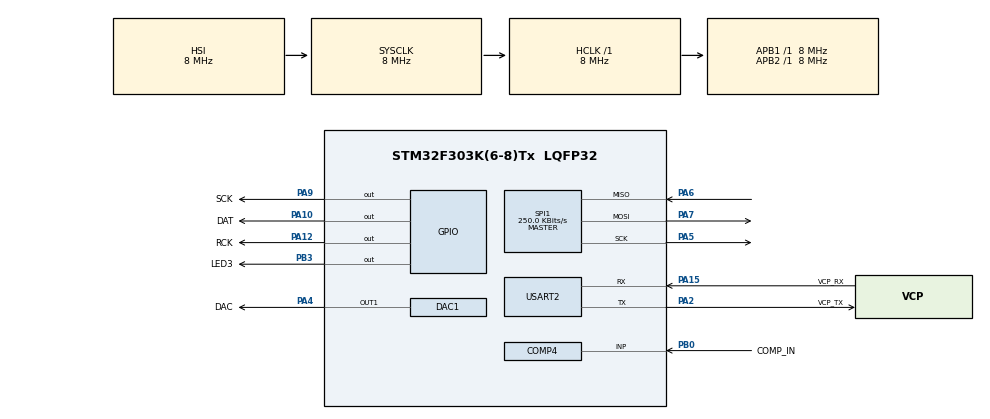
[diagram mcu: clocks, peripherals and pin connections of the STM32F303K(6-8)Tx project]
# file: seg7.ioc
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Mcu.Family=STM32F3
Mcu.Name=STM32F303K(6-8)Tx
Mcu.Package=LQFP32
NVIC.PriorityGroup=NVIC_PRIORITYGROUP_4
NVIC.TIM1_BRK_TIM15_IRQn=true\:0\:0\:false\:false\:true
PA10.GPIO_Label=DAT
PA10.Signal=GPIO_Output
PA12.GPIO_Label=RCK
PA12.Signal=GPIO_Output
PA13.GPIO_Label=SWDIO
PA13.Mode=Serial_Wire
PA13.Signal=SYS_JTMS-SWDIO
PA14.GPIO_Label=SWCLK
PA14.Mode=Serial_Wire
PA14.Signal=SYS_JTCK-SWCLK
PA15.GPIO_Label=VCP_RX
PA15.Mode=Asynchronous
PA15.Signal=USART2_RX
PA2.GPIO_Label=VCP_TX
PA2.Mode=Asynchronous
PA2.Signal=USART2_TX
PA4.GPIO_Label=DAC
PA4.Signal=COMP_DAC11_group
PA5.Mode=Full_Duplex_Master
PA5.Signal=SPI1_SCK
PA6.Mode=Full_Duplex_Master
PA6.Signal=SPI1_MISO
PA7.Mode=Full_Duplex_Master
PA7.Signal=SPI1_MOSI
PA9.GPIO_Label=SCK
PA9.Signal=GPIO_Output
PB0.GPIO_Label=COMP_IN
PB0.Mode=INP
PB0.Signal=COMP4_INP
PB3.GPIO_Label=LED3
PB3.Signal=GPIO_Output
ProjectManager.HeapSize=0x200
ProjectManager.StackSize=0x400
ProjectManager.TargetToolchain=SW4STM32
RCC.AHBFreq_Value=8000000
RCC.APB1Freq_Value=8000000
RCC.APB2Freq_Value=8000000
RCC.CortexFreq_Value=8000000
RCC.HSE_VALUE=8000000
RCC.HSI_VALUE=8000000
RCC.SYSCLKFreq_VALUE=8000000
SH.COMP_DAC11_group.0=DAC1_OUT1,DAC_OUT1
SPI1.BaudRatePrescaler=SPI_BAUDRATEPRESCALER_32
SPI1.CalculateBaudRate=250.0 KBits/s
SPI1.DataSize=SPI_DATASIZE_8BIT
SPI1.Mode=SPI_MODE_MASTER
SPI1.NSSPMode=SPI_NSS_PULSE_DISABLE
TIM15.Period=8-1
TIM15.Prescaler=10000-1
TIM15.TIM_MasterOutputTrigger=TIM_TRGO_RESET
TIM15.TIM_MasterSlaveMode=TIM_MASTERSLAVEMODE_ENABLE
TIM3.Period=60000-1
USART2.WordLength=UART_WORDLENGTH_8B
VP_COMP4_VS_VREFINT.Mode=VREFINT
VP_TIM15_VS_ClockSourceINT.Mode=Internal
VP_TIM3_VS_ClockSourceITR.Mode=TriggerSource_ITR2
VP_TIM3_VS_ControllerModeClock.Mode=Clock Mode
board=NUCLEO-F303K8

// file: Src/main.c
/**
  ******************************************************************************
  * File Name          : main.c
  * Description        : Main program body
  ******************************************************************************
  *
  * COPYRIGHT(c) 2016 STMicroelectronics
  *
  * Redistribution and use in source and binary forms, with or without modification,
  * are permitted provided that the following conditions are met:
  *   1. Redistributions of source code must retain the above copyright notice,
  *      this list of conditions and the following disclaimer.
  *   2. Redistributions in binary form must reproduce the above copyright notice,
  *      this list of conditions and the following disclaimer in the documentation
  *      and/or other materials provided with the distribution.
  *   3. Neither the name of STMicroelectronics nor the names of its contributors
  *      may be used to endorse or promote products derived from this software
  *      without specific prior written permission.
  *
  * THIS SOFTWARE IS PROVIDED BY THE COPYRIGHT HOLDERS AND CONTRIBUTORS "AS IS"
  * AND ANY EXPRESS OR IMPLIED WARRANTIES, INCLUDING, BUT NOT LIMITED TO, THE
  * IMPLIED WARRANTIES OF MERCHANTABILITY AND FITNESS FOR A PARTICULAR PURPOSE ARE
  * DISCLAIMED. IN NO EVENT SHALL THE COPYRIGHT HOLDER OR CONTRIBUTORS BE LIABLE
  * FOR ANY DIRECT, INDIRECT, INCIDENTAL, SPECIAL, EXEMPLARY, OR CONSEQUENTIAL
  * DAMAGES (INCLUDING, BUT NOT LIMITED TO, PROCUREMENT OF SUBSTITUTE GOODS OR
  * SERVICES; LOSS OF USE, DATA, OR PROFITS; OR BUSINESS INTERRUPTION) HOWEVER
  * CAUSED AND ON ANY THEORY OF LIABILITY, WHETHER IN CONTRACT, STRICT LIABILITY,
  * OR TORT (INCLUDING NEGLIGENCE OR OTHERWISE) ARISING IN ANY WAY OUT OF THE USE
  * OF THIS SOFTWARE, EVEN IF ADVISED OF THE POSSIBILITY OF SUCH DAMAGE.
  *
  ******************************************************************************
  */
#include "main.h"
#include "stm32f3xx_hal.h"

COMP_HandleTypeDef hcomp4;

DAC_HandleTypeDef hdac1;

SPI_HandleTypeDef hspi1;

TIM_HandleTypeDef htim3;
TIM_HandleTypeDef htim15;

UART_HandleTypeDef huart2;

/* USER CODE BEGIN PV */
/* Private variables ---------------------------------------------------------*/
uint8_t digdata[] = {0x5f, 0x41, 0x9d, 0xcd, 0xc3, 0xce, 0xde, 0x45, 0xdf, 0xcf};
__IO uint32_t* rowbrr[] = {&DAT_GPIO_Port->BRR, &DAT_GPIO_Port->BSRR, &DAT_GPIO_Port->BSRR, &DAT_GPIO_Port->BSRR};

/* USER CODE END PV */

void SystemClock_Config(void);
void Error_Handler(void);
static void MX_GPIO_Init(void);
static void MX_COMP4_Init(void);
static void MX_DAC1_Init(void);
static void MX_SPI1_Init(void);
static void MX_USART2_UART_Init(void);
static void MX_TIM3_Init(void);
static void MX_TIM15_Init(void);

/* USER CODE BEGIN PFP */
/* Private function prototypes -----------------------------------------------*/

/* USER CODE END PFP */

/* USER CODE BEGIN 0 */
void _init(void)
{
}

void Output_Digit(uint8_t dat, __IO uint32_t* brr)
{
  if (dat & 0x80) {
    DAT_GPIO_Port->BSRR = DAT_Pin;
  } else {
    DAT_GPIO_Port->BRR = DAT_Pin;
  }
  SCK_GPIO_Port->BSRR = SCK_Pin;

/*  SCK_GPIO_Port->BRR = SCK_Pin; */
  if (dat & 0x40) {
    GPIOA->BSRR = DAT_Pin | (SCK_Pin << 16);
  } else {
    GPIOA->BRR = DAT_Pin | SCK_Pin;
  }
  SCK_GPIO_Port->BSRR = SCK_Pin;

/*  SCK_GPIO_Port->BRR = SCK_Pin; */
  if (dat & 0x20) {
    GPIOA->BSRR = DAT_Pin | (SCK_Pin << 16);
  } else {
    GPIOA->BRR = DAT_Pin | SCK_Pin;
  }
  SCK_GPIO_Port->BSRR = SCK_Pin;

/*  SCK_GPIO_Port->BRR = SCK_Pin; */
  if (dat & 0x10) {
    GPIOA->BSRR = DAT_Pin | (SCK_Pin << 16);
  } else {
    GPIOA->BRR = DAT_Pin | SCK_Pin;
  }
  SCK_GPIO_Port->BSRR = SCK_Pin;

/*  SCK_GPIO_Port->BRR = SCK_Pin; */
  if (dat & 0x08) {
    GPIOA->BSRR = DAT_Pin | (SCK_Pin << 16);
  } else {
    GPIOA->BRR = DAT_Pin | SCK_Pin;
  }
  SCK_GPIO_Port->BSRR = SCK_Pin;

/*  SCK_GPIO_Port->BRR = SCK_Pin; */
  if (dat & 0x04) {
    GPIOA->BSRR = DAT_Pin | (SCK_Pin << 16);
  } else {
    GPIOA->BRR = DAT_Pin | SCK_Pin;
  }
  SCK_GPIO_Port->BSRR = SCK_Pin;

/*  SCK_GPIO_Port->BRR = SCK_Pin; */
  if (dat & 0x02) {
    GPIOA->BSRR = DAT_Pin | (SCK_Pin << 16);
  } else {
    GPIOA->BRR = DAT_Pin | SCK_Pin;
  }
  SCK_GPIO_Port->BSRR = SCK_Pin;

/*  SCK_GPIO_Port->BRR = SCK_Pin; */
  if (dat & 0x01) {
    GPIOA->BSRR = DAT_Pin | (SCK_Pin << 16);
  } else {
    GPIOA->BRR = DAT_Pin | SCK_Pin;
  }
  SCK_GPIO_Port->BSRR = SCK_Pin;
  SCK_GPIO_Port->BRR = SCK_Pin;

  *brr = DAT_Pin;
  RCK_GPIO_Port->BSRR = RCK_Pin;
  RCK_GPIO_Port->BRR = RCK_Pin;
}

/* USER CODE END 0 */

int main(void)
{

  /* USER CODE BEGIN 1 */
  uint8_t row = 0;
  __IO uint16_t count = 0;

  /* USER CODE END 1 */

  /* MCU Configuration----------------------------------------------------------*/

  /* Reset of all peripherals, Initializes the Flash interface and the Systick. */
  HAL_Init();

  /* Configure the system clock */
  SystemClock_Config();

  /* Initialize all configured peripherals */
  MX_GPIO_Init();
  MX_COMP4_Init();
  MX_DAC1_Init();
  MX_SPI1_Init();
  MX_USART2_UART_Init();
  MX_TIM3_Init();
  MX_TIM15_Init();

  /* USER CODE BEGIN 2 */
  __HAL_TIM_CLEAR_IT(&htim15, TIM_IT_UPDATE);
  HAL_TIM_Base_Start_IT(&htim15);
  HAL_TIM_Base_Start(&htim3);

  count = __HAL_TIM_GET_COUNTER(&htim3);

  /* USER CODE END 2 */

  /* Infinite loop */
  /* USER CODE BEGIN WHILE */
  while (1)
  {
    uint8_t dat;
    uint32_t tmp;

    switch (row) {
    case 0:
      dat = digdata[count % 10];
      break;
    case 1:
      dat = digdata[(count / 10) % 10];
      break;
    case 2:
      dat = digdata[(count / 100) % 10] | 0x20;
      break;
    case 3:
      if (count < 1000) {
        dat = 0x00;
      } else {
        dat = digdata[(count / 1000) % 10];
      }
      break;
    }
    Output_Digit(dat, rowbrr[row]);
    row = (row+1) & 0x03;

    HAL_Delay(2);

    if (__HAL_TIM_GET_FLAG(&htim15, TIM_IT_UPDATE))
    {
      __HAL_TIM_CLEAR_IT(&htim15, TIM_IT_UPDATE);
      count = __HAL_TIM_GET_COUNTER(&htim3);
    }
  /* USER CODE END WHILE */

  }

}

/** System Clock Configuration
*/
void SystemClock_Config(void)
{

  RCC_OscInitTypeDef RCC_OscInitStruct;
  RCC_ClkInitTypeDef RCC_ClkInitStruct;

    /**Initializes the CPU, AHB and APB busses clocks
    */
  RCC_OscInitStruct.OscillatorType = RCC_OSCILLATORTYPE_HSI;
  RCC_OscInitStruct.HSIState = RCC_HSI_ON;
  RCC_OscInitStruct.HSICalibrationValue = 16;
  RCC_OscInitStruct.PLL.PLLState = RCC_PLL_NONE;
  if (HAL_RCC_OscConfig(&RCC_OscInitStruct) != HAL_OK)
  {
    Error_Handler();
  }

    /**Initializes the CPU, AHB and APB busses clocks
    */
  RCC_ClkInitStruct.ClockType = RCC_CLOCKTYPE_HCLK|RCC_CLOCKTYPE_SYSCLK
                              |RCC_CLOCKTYPE_PCLK1|RCC_CLOCKTYPE_PCLK2;
  RCC_ClkInitStruct.SYSCLKSource = RCC_SYSCLKSOURCE_HSI;
  RCC_ClkInitStruct.AHBCLKDivider = RCC_SYSCLK_DIV1;
  RCC_ClkInitStruct.APB1CLKDivider = RCC_HCLK_DIV1;
  RCC_ClkInitStruct.APB2CLKDivider = RCC_HCLK_DIV1;

  if (HAL_RCC_ClockConfig(&RCC_ClkInitStruct, FLASH_LATENCY_0) != HAL_OK)
  {
    Error_Handler();
  }

    /**Configure the Systick interrupt time
    */
  HAL_SYSTICK_Config(HAL_RCC_GetHCLKFreq()/1000);

    /**Configure the Systick
    */
  HAL_SYSTICK_CLKSourceConfig(SYSTICK_CLKSOURCE_HCLK);

  /* SysTick_IRQn interrupt configuration */
  HAL_NVIC_SetPriority(SysTick_IRQn, 0, 0);
}

/* COMP4 init function */
static void MX_COMP4_Init(void)
{

  hcomp4.Instance = COMP4;
  hcomp4.Init.InvertingInput = COMP_INVERTINGINPUT_VREFINT;
  hcomp4.Init.NonInvertingInput = COMP_NONINVERTINGINPUT_IO1;
  hcomp4.Init.Output = COMP_OUTPUT_NONE;
  hcomp4.Init.OutputPol = COMP_OUTPUTPOL_NONINVERTED;
  hcomp4.Init.BlankingSrce = COMP_BLANKINGSRCE_NONE;
  hcomp4.Init.TriggerMode = COMP_TRIGGERMODE_NONE;
  if (HAL_COMP_Init(&hcomp4) != HAL_OK)
  {
    Error_Handler();
  }

}

/* DAC1 init function */
static void MX_DAC1_Init(void)
{

  DAC_ChannelConfTypeDef sConfig;

    /**DAC Initialization
    */
  hdac1.Instance = DAC1;
  if (HAL_DAC_Init(&hdac1) != HAL_OK)
  {
    Error_Handler();
  }

    /**DAC channel OUT1 config
    */
  sConfig.DAC_Trigger = DAC_TRIGGER_NONE;
  sConfig.DAC_OutputBuffer = DAC_OUTPUTBUFFER_ENABLE;
  if (HAL_DAC_ConfigChannel(&hdac1, &sConfig, DAC_CHANNEL_1) != HAL_OK)
  {
    Error_Handler();
  }

}

/* SPI1 init function */
static void MX_SPI1_Init(void)
{

  hspi1.Instance = SPI1;
  hspi1.Init.Mode = SPI_MODE_MASTER;
  hspi1.Init.Direction = SPI_DIRECTION_2LINES;
  hspi1.Init.DataSize = SPI_DATASIZE_8BIT;
  hspi1.Init.CLKPolarity = SPI_POLARITY_LOW;
  hspi1.Init.CLKPhase = SPI_PHASE_1EDGE;
  hspi1.Init.NSS = SPI_NSS_SOFT;
  hspi1.Init.BaudRatePrescaler = SPI_BAUDRATEPRESCALER_32;
  hspi1.Init.FirstBit = SPI_FIRSTBIT_MSB;
  hspi1.Init.TIMode = SPI_TIMODE_DISABLE;
  hspi1.Init.CRCCalculation = SPI_CRCCALCULATION_DISABLE;
  hspi1.Init.CRCPolynomial = 7;
  hspi1.Init.CRCLength = SPI_CRC_LENGTH_DATASIZE;
  hspi1.Init.NSSPMode = SPI_NSS_PULSE_DISABLE;
  if (HAL_SPI_Init(&hspi1) != HAL_OK)
  {
    Error_Handler();
  }

}

/* TIM3 init function */
static void MX_TIM3_Init(void)
{

  TIM_SlaveConfigTypeDef sSlaveConfig;
  TIM_MasterConfigTypeDef sMasterConfig;

  htim3.Instance = TIM3;
  htim3.Init.Prescaler = 0;
  htim3.Init.CounterMode = TIM_COUNTERMODE_UP;
  htim3.Init.Period = 60000-1;
  htim3.Init.ClockDivision = TIM_CLOCKDIVISION_DIV1;
  if (HAL_TIM_Base_Init(&htim3) != HAL_OK)
  {
    Error_Handler();
  }

  sSlaveConfig.SlaveMode = TIM_SLAVEMODE_EXTERNAL1;
  sSlaveConfig.InputTrigger = TIM_TS_ITR2;
  if (HAL_TIM_SlaveConfigSynchronization(&htim3, &sSlaveConfig) != HAL_OK)
  {
    Error_Handler();
  }

  sMasterConfig.MasterOutputTrigger = TIM_TRGO_RESET;
  sMasterConfig.MasterSlaveMode = TIM_MASTERSLAVEMODE_DISABLE;
  if (HAL_TIMEx_MasterConfigSynchronization(&htim3, &sMasterConfig) != HAL_OK)
  {
    Error_Handler();
  }

}

/* TIM15 init function */
static void MX_TIM15_Init(void)
{

  TIM_ClockConfigTypeDef sClockSourceConfig;
  TIM_MasterConfigTypeDef sMasterConfig;

  htim15.Instance = TIM15;
  htim15.Init.Prescaler = 10000-1;
  htim15.Init.CounterMode = TIM_COUNTERMODE_UP;
  htim15.Init.Period = 8-1;
  htim15.Init.ClockDivision = TIM_CLOCKDIVISION_DIV1;
  htim15.Init.RepetitionCounter = 0;
  if (HAL_TIM_Base_Init(&htim15) != HAL_OK)
  {
    Error_Handler();
  }

  sClockSourceConfig.ClockSource = TIM_CLOCKSOURCE_INTERNAL;
  if (HAL_TIM_ConfigClockSource(&htim15, &sClockSourceConfig) != HAL_OK)
  {
    Error_Handler();
  }

  sMasterConfig.MasterOutputTrigger = TIM_TRGO_UPDATE;
  sMasterConfig.MasterSlaveMode = TIM_MASTERSLAVEMODE_ENABLE;
  if (HAL_TIMEx_MasterConfigSynchronization(&htim15, &sMasterConfig) != HAL_OK)
  {
    Error_Handler();
  }

}

/* USART2 init function */
static void MX_USART2_UART_Init(void)
{

  huart2.Instance = USART2;
  huart2.Init.BaudRate = 38400;
  huart2.Init.WordLength = UART_WORDLENGTH_8B;
  huart2.Init.StopBits = UART_STOPBITS_1;
  huart2.Init.Parity = UART_PARITY_NONE;
  huart2.Init.Mode = UART_MODE_TX_RX;
  huart2.Init.HwFlowCtl = UART_HWCONTROL_NONE;
  huart2.Init.OverSampling = UART_OVERSAMPLING_16;
  huart2.Init.OneBitSampling = UART_ONE_BIT_SAMPLE_DISABLE;
  huart2.AdvancedInit.AdvFeatureInit = UART_ADVFEATURE_NO_INIT;
  if (HAL_UART_Init(&huart2) != HAL_OK)
  {
    Error_Handler();
  }

}

/** Configure pins as
        * Analog
        * Input
        * Output
        * EVENT_OUT
        * EXTI
*/
static void MX_GPIO_Init(void)
{

  GPIO_InitTypeDef GPIO_InitStruct;

  /* GPIO Ports Clock Enable */
  __HAL_RCC_GPIOA_CLK_ENABLE();
  __HAL_RCC_GPIOB_CLK_ENABLE();

  /*Configure GPIO pin Output Level */
  HAL_GPIO_WritePin(GPIOA, SCK_Pin|DAT_Pin|RCK_Pin, GPIO_PIN_RESET);

  /*Configure GPIO pin Output Level */
  HAL_GPIO_WritePin(LED3_GPIO_Port, LED3_Pin, GPIO_PIN_RESET);

  /*Configure GPIO pins : SCK_Pin DAT_Pin RCK_Pin */
  GPIO_InitStruct.Pin = SCK_Pin|DAT_Pin|RCK_Pin;
  GPIO_InitStruct.Mode = GPIO_MODE_OUTPUT_PP;
  GPIO_InitStruct.Pull = GPIO_NOPULL;
  GPIO_InitStruct.Speed = GPIO_SPEED_FREQ_LOW;
  HAL_GPIO_Init(GPIOA, &GPIO_InitStruct);

  /*Configure GPIO pin : LED3_Pin */
  GPIO_InitStruct.Pin = LED3_Pin;
  GPIO_InitStruct.Mode = GPIO_MODE_OUTPUT_PP;
  GPIO_InitStruct.Pull = GPIO_NOPULL;
  GPIO_InitStruct.Speed = GPIO_SPEED_FREQ_LOW;
  HAL_GPIO_Init(LED3_GPIO_Port, &GPIO_InitStruct);

}

void Error_Handler(void)
{
  while(1)
  {
  }
}

/************************ (C) COPYRIGHT STMicroelectronics *****END OF FILE****/
